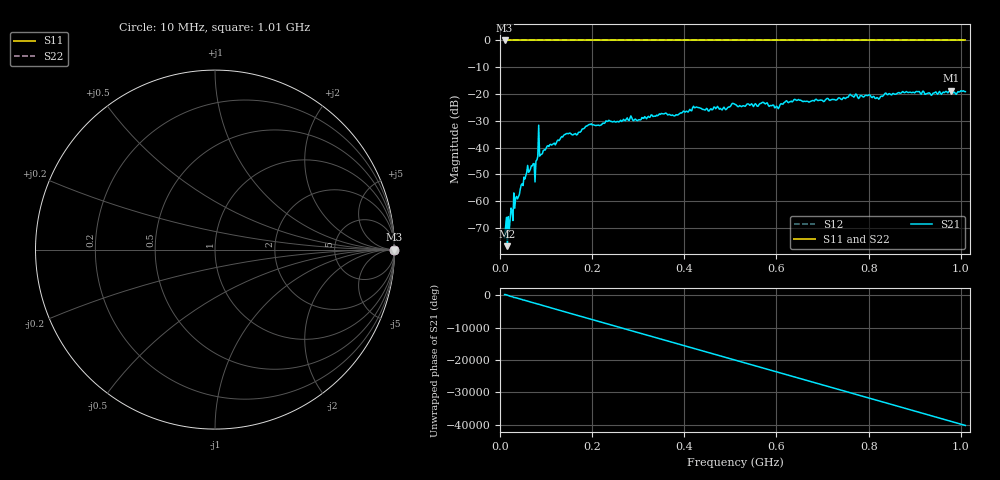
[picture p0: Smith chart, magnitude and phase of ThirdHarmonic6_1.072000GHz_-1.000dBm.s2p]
! 8/16/2025 9:44:39 AM
! C:\ANRITSUVNA\TEMP\TEMP.S2P
! CHANNEL.1
! TR.MEASUREMENT
! RAW.DATA
! RF.CORRECTION.OFF
! AVERAGING.OFF
! IF.BANDWIDTH: 5KHZ
! SWEEPTYPE:  FREQ.SWEEP(Linear)
! Reference Plane Port Info
! PORT:  PORT1  PORT2
! DISTANCE:  0  m  0  m
! TIME:  0  s  0  s
! PHASE.OFFSET:  0  deg.  0  deg.
! LOSS:  0  dB  0  dB
! REF.LOSS:  0  dB  0  dB
! REF.FREQ:  0  Hz  0  Hz
! Power Info
! POWER:  -20  dBm  -20  dBm
! EFF.POWER:  -20  dBm  -20  dBm
! SOURCE.ATTEN:  0  dB  0  dB
! TEST.ATTEN:  0  dB  0  dB
# GHZ S RI R 50.0
! FREQ.GHZ  S11RE  S11IM  S21RE  S21IM  S12RE  S12IM  S22RE  S22IM
!; PortSelection: Port_12
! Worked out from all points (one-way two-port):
!   501 points, 10 MHz to 1.01 GHz, reference 50 ohm
!   highest |S21| = -18.72 dB at 978 MHz (marker M1); lowest = -76.8 dB at 16 MHz (marker M2)
!   lowest |S11| = 0.0 dB at 10 MHz (marker M3)
!   |S11| at or under -10 dB: nowhere
!   |S22| runs from 0.0 to 0.0 dB; largest |S21 - S12| = 1.1
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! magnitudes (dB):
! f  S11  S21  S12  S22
! 10 MHz  0.0  -73.7  0.0  0.0
! 16 MHz  0.0  -76.8  0.0  0.0
! 34 MHz  0.0  -58.8  0.0  0.0
! 40 MHz  0.0  -58.4  0.0  0.0
! 56 MHz  0.0  -50.4  0.0  0.0
! 78 MHz  0.0  -45.1  0.0  0.0
! 82 MHz  0.0  -43.4  0.0  0.0
! 84 MHz  0.0  -31.6  0.0  0.0
! 88 MHz  0.0  -42.6  0.0  0.0
! 90 MHz  0.0  -42.6  0.0  0.0
! 142 MHz  0.0  -35.0  0.0  0.0
! 178 MHz  0.0  -33.2  0.0  0.0
! 234 MHz  0.0  -30.2  0.0  0.0
! 344 MHz  0.0  -27.8  0.0  0.0
! 510 MHz  0.0  -23.9  0.0  0.0
! 570 MHz  0.0  -23.1  0.0  0.0
! 600 MHz  0.0  -24.5  0.0  0.0
! 642 MHz  0.0  -22.2  0.0  0.0
! 678 MHz  0.0  -22.5  0.0  0.0
! 844 MHz  0.0  -19.9  0.0  0.0
! 978 MHz  0.0  -18.7  0.0  0.0
! 1.01 GHz  0.0  -19.1  0.0  0.0
